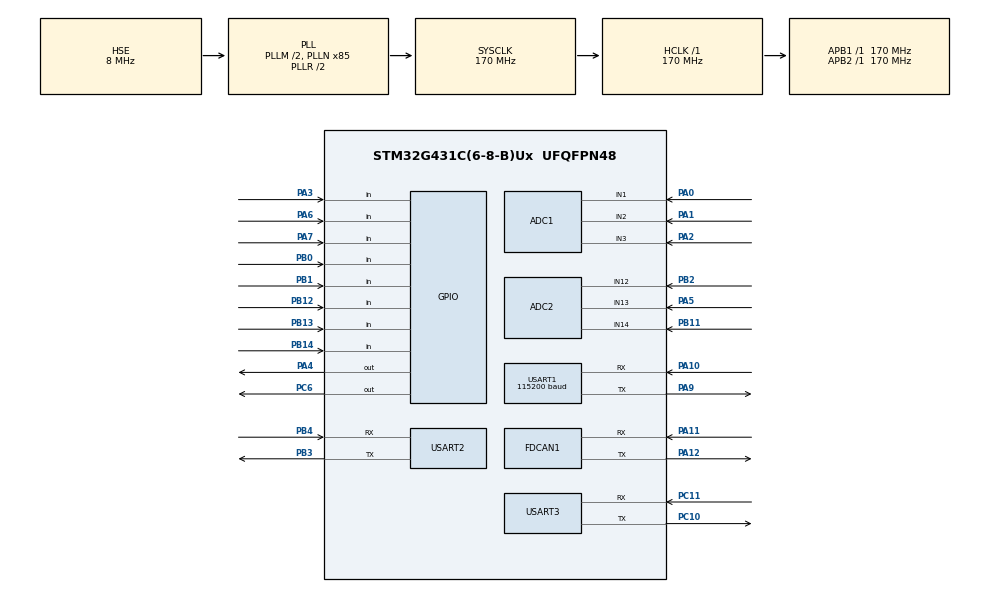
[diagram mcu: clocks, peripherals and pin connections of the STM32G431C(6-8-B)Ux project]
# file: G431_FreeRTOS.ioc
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ADC1.Channel-0\#ChannelRegularConversion=ADC_CHANNEL_1
ADC1.Channel-1\#ChannelRegularConversion=ADC_CHANNEL_2
ADC1.Channel-2\#ChannelRegularConversion=ADC_CHANNEL_3
ADC1.ContinuousConvMode=ENABLE
ADC1.DMAContinuousRequests=ENABLE
ADC1.EOCSelection=ADC_EOC_SINGLE_CONV
ADC1.NbrOfConversion=3
ADC1.NbrOfConversionFlag=1
ADC1.OffsetNumber-0\#ChannelRegularConversion=ADC_OFFSET_NONE
ADC1.OffsetNumber-1\#ChannelRegularConversion=ADC_OFFSET_NONE
ADC1.OffsetNumber-2\#ChannelRegularConversion=ADC_OFFSET_NONE
ADC1.Rank-0\#ChannelRegularConversion=1
ADC1.Rank-1\#ChannelRegularConversion=2
ADC1.Rank-2\#ChannelRegularConversion=3
ADC1.SamplingTime-0\#ChannelRegularConversion=ADC_SAMPLETIME_24CYCLES_5
ADC1.SamplingTime-1\#ChannelRegularConversion=ADC_SAMPLETIME_24CYCLES_5
ADC1.SamplingTime-2\#ChannelRegularConversion=ADC_SAMPLETIME_24CYCLES_5
ADC1.master=1
ADC2.Channel-0\#ChannelRegularConversion=ADC_CHANNEL_12
ADC2.Channel-1\#ChannelRegularConversion=ADC_CHANNEL_13
ADC2.Channel-2\#ChannelRegularConversion=ADC_CHANNEL_14
ADC2.ContinuousConvMode=ENABLE
ADC2.DMAContinuousRequests=ENABLE
ADC2.NbrOfConversion=3
ADC2.NbrOfConversionFlag=1
ADC2.OffsetNumber-0\#ChannelRegularConversion=ADC_OFFSET_NONE
ADC2.OffsetNumber-1\#ChannelRegularConversion=ADC_OFFSET_NONE
ADC2.OffsetNumber-2\#ChannelRegularConversion=ADC_OFFSET_NONE
ADC2.Rank-0\#ChannelRegularConversion=1
ADC2.Rank-1\#ChannelRegularConversion=2
ADC2.Rank-2\#ChannelRegularConversion=3
ADC2.SamplingTime-0\#ChannelRegularConversion=ADC_SAMPLETIME_24CYCLES_5
ADC2.SamplingTime-1\#ChannelRegularConversion=ADC_SAMPLETIME_24CYCLES_5
ADC2.SamplingTime-2\#ChannelRegularConversion=ADC_SAMPLETIME_24CYCLES_5
Dma.ADC1.0.Direction=DMA_PERIPH_TO_MEMORY
Dma.ADC1.0.EventEnable=DISABLE
Dma.ADC1.0.Instance=DMA1_Channel1
Dma.ADC1.0.MemDataAlignment=DMA_MDATAALIGN_HALFWORD
Dma.ADC1.0.MemInc=DMA_MINC_ENABLE
Dma.ADC1.0.Mode=DMA_CIRCULAR
Dma.ADC1.0.PeriphDataAlignment=DMA_PDATAALIGN_HALFWORD
Dma.ADC1.0.PeriphInc=DMA_PINC_DISABLE
Dma.ADC1.0.Polarity=HAL_DMAMUX_REQ_GEN_RISING
Dma.ADC1.0.Priority=DMA_PRIORITY_LOW
Dma.ADC1.0.RequestNumber=1
Dma.ADC1.0.SignalID=NONE
Dma.ADC1.0.SyncEnable=DISABLE
Dma.ADC1.0.SyncPolarity=HAL_DMAMUX_SYNC_NO_EVENT
Dma.ADC1.0.SyncRequestNumber=1
Dma.ADC1.0.SyncSignalID=NONE
Dma.ADC2.1.Direction=DMA_PERIPH_TO_MEMORY
Dma.ADC2.1.EventEnable=DISABLE
Dma.ADC2.1.Instance=DMA1_Channel2
Dma.ADC2.1.MemDataAlignment=DMA_MDATAALIGN_HALFWORD
Dma.ADC2.1.MemInc=DMA_MINC_ENABLE
Dma.ADC2.1.Mode=DMA_CIRCULAR
Dma.ADC2.1.PeriphDataAlignment=DMA_PDATAALIGN_HALFWORD
Dma.ADC2.1.PeriphInc=DMA_PINC_DISABLE
Dma.ADC2.1.Polarity=HAL_DMAMUX_REQ_GEN_RISING
Dma.ADC2.1.Priority=DMA_PRIORITY_LOW
Dma.ADC2.1.RequestNumber=1
Dma.ADC2.1.SignalID=NONE
Dma.ADC2.1.SyncEnable=DISABLE
Dma.ADC2.1.SyncPolarity=HAL_DMAMUX_SYNC_NO_EVENT
Dma.ADC2.1.SyncRequestNumber=1
Dma.ADC2.1.SyncSignalID=NONE
Dma.Request0=ADC1
Dma.Request1=ADC2
FDCAN1.CalculateBaudRateNominal=1000000
FDCAN1.CalculateTimeBitNominal=1000
FDCAN1.CalculateTimeQuantumNominal=125.0
FDCAN1.DataSyncJumpWidth=1
FDCAN1.DataTimeSeg1=8
FDCAN1.DataTimeSeg2=3
FDCAN1.NominalPrescaler=1
FDCAN1.NominalSyncJumpWidth=1
FDCAN1.NominalTimeSeg1=6
FDCAN1.NominalTimeSeg2=1
FREERTOS.HEAP_NUMBER=4
FREERTOS.Tasks01=BlueLED_Task,12,128,Start_BlueLED_Task,Default,NULL,Dynamic,NULL,NULL;GetADC_Task,28,256,Start_GetADC_Task,Default,NULL,Dynamic,NULL,NULL;MotorCTRL_Task,30,256,StartMotorCTRL_Task,Default,NULL,Dynamic,NULL,NULL;Serial_Task,29,256,Start_Serial_Task,Default,NULL,Dynamic,NULL,NULL
FREERTOS.configTOTAL_HEAP_SIZE=4096
Mcu.Family=STM32G4
Mcu.Name=STM32G431C(6-8-B)Ux
Mcu.Package=UFQFPN48
NVIC.DMA1_Channel1_IRQn=true\:5\:0\:false\:false\:true\:false\:false\:true\:true
NVIC.DMA1_Channel2_IRQn=true\:5\:0\:false\:false\:true\:false\:false\:true\:true
NVIC.FDCAN1_IT0_IRQn=true\:5\:0\:false\:false\:true\:true\:true\:true\:true
NVIC.PriorityGroup=NVIC_PRIORITYGROUP_4
PA0.Mode=IN1-Single-Ended
PA0.Signal=ADC1_IN1
PA1.Mode=IN2-Single-Ended
PA1.Signal=ADC1_IN2
PA10.Mode=Asynchronous
PA10.Signal=USART1_RX
PA11.Mode=FDCAN_Activate
PA11.Signal=FDCAN1_RX
PA12.Mode=FDCAN_Activate
PA12.Signal=FDCAN1_TX
PA13.Mode=Serial_Wire
PA13.Signal=SYS_JTMS-SWDIO
PA14.Mode=Serial_Wire
PA14.Signal=SYS_JTCK-SWCLK
PA2.Mode=IN3-Single-Ended
PA2.Signal=ADC1_IN3
PA3.Signal=GPIO_Input
PA4.GPIO_PuPd=GPIO_PULLDOWN
PA4.PinState=GPIO_PIN_SET
PA4.Signal=GPIO_Output
PA5.Mode=IN13-Single-Ended
PA5.Signal=ADC2_IN13
PA6.Signal=GPIO_Input
PA7.Signal=GPIO_Input
PA9.Mode=Asynchronous
PA9.Signal=USART1_TX
PB0.Signal=GPIO_Input
PB1.Signal=GPIO_Input
PB11.Mode=IN14-Single-Ended
PB11.Signal=ADC2_IN14
PB12.Signal=GPIO_Input
PB13.Signal=GPIO_Input
PB14.Signal=GPIO_Input
PB2.Mode=IN12-Single-Ended
PB2.Signal=ADC2_IN12
PB3.Mode=Asynchronous
PB3.Signal=USART2_TX
PB4.Mode=Asynchronous
PB4.Signal=USART2_RX
PC10.Mode=Asynchronous
PC10.Signal=USART3_TX
PC11.Mode=Asynchronous
PC11.Signal=USART3_RX
PC14-OSC32_IN.Mode=LSE-External-Oscillator
PC14-OSC32_IN.Signal=RCC_OSC32_IN
PC15-OSC32_OUT.Mode=LSE-External-Oscillator
PC15-OSC32_OUT.Signal=RCC_OSC32_OUT
PC6.GPIO_PuPd=GPIO_PULLDOWN
PC6.PinState=GPIO_PIN_SET
PC6.Signal=GPIO_Output
PF0-OSC_IN.Mode=HSE-External-Oscillator
PF0-OSC_IN.Signal=RCC_OSC_IN
PF1-OSC_OUT.Mode=HSE-External-Oscillator
PF1-OSC_OUT.Signal=RCC_OSC_OUT
ProjectManager.HeapSize=0x200
ProjectManager.StackSize=0x400
ProjectManager.TargetToolchain=MDK-ARM V5.32
RCC.ADC12Freq_Value=170000000
RCC.AHBFreq_Value=170000000
RCC.APB1Freq_Value=170000000
RCC.APB1TimFreq_Value=170000000
RCC.APB2Freq_Value=170000000
RCC.APB2TimFreq_Value=170000000
RCC.CortexFreq_Value=170000000
RCC.EXTERNAL_CLOCK_VALUE=12288000
RCC.FDCANCLockSelection=RCC_FDCANCLKSOURCE_HSE
RCC.HCLKFreq_Value=170000000
RCC.HSE_VALUE=8000000
RCC.HSI48_VALUE=48000000
RCC.HSI_VALUE=16000000
RCC.PLLM=RCC_PLLM_DIV2
RCC.PLLN=85
RCC.PLLSourceVirtual=RCC_PLLSOURCE_HSE
RCC.SYSCLKFreq_VALUE=170000000
RCC.SYSCLKSource=RCC_SYSCLKSOURCE_PLLCLK
RCC.USBFreq_Value=170000000
RCC.VCOOutputFreq_Value=340000000
USART1.BaudRate=115200
USART1.Mode=MODE_TX_RX
USART1.VirtualMode-Asynchronous=VM_ASYNC
USART2.VirtualMode-Asynchronous=VM_ASYNC
USART3.VirtualMode-Asynchronous=VM_ASYNC
VP_FREERTOS_VS_CMSIS_V2.Mode=CMSIS_V2
VP_SYS_VS_DBSignals.Mode=DisableDeadBatterySignals
board=custom

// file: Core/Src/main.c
/* USER CODE BEGIN Header */
/**
  ******************************************************************************
  * @file           : main.c
  * @brief          : Main program body
  ******************************************************************************
  * @attention
  *
  * Copyright (c) 2025 STMicroelectronics.
  * All rights reserved.
  *
  * This software is licensed under terms that can be found in the LICENSE file
  * in the root directory of this software component.
  * If no LICENSE file comes with this software, it is provided AS-IS.
  *
  ******************************************************************************
  */
/* USER CODE END Header */
#include "main.h"
#include "cmsis_os.h"
#include "adc.h"
#include "dma.h"
#include "fdcan.h"
#include "usart.h"
#include "gpio.h"

/* USER CODE BEGIN Includes */
#include "stdio.h"

/* USER CODE END Includes */

void SystemClock_Config(void);
void MX_FREERTOS_Init(void);

/* USER CODE BEGIN 0 */
int fputc(int c,FILE *f)
{
    uint8_t ch;
    ch = c;
    HAL_UART_Transmit(&huart1,&ch,1,1000);

    return c;
}

/* USER CODE END 0 */

int main(void)
{

  /* MCU Configuration--------------------------------------------------------*/

  /* Reset of all peripherals, Initializes the Flash interface and the Systick. */
  HAL_Init();

  /* Configure the system clock */
  SystemClock_Config();

  /* Initialize all configured peripherals */
  MX_GPIO_Init();
  MX_DMA_Init();
  MX_USART1_UART_Init();
  MX_ADC1_Init();
  MX_ADC2_Init();
  MX_FDCAN1_Init();
  MX_USART2_UART_Init();
  MX_USART3_UART_Init();

  /* Init scheduler */
  osKernelInitialize();  /* Call init function for freertos objects (in cmsis_os2.c) */
  MX_FREERTOS_Init();

  /* Start scheduler */
  osKernelStart();

  /* We should never get here as control is now taken by the scheduler */

  /* Infinite loop */
  while (1)
  {

  }
}

void SystemClock_Config(void)
{
  RCC_OscInitTypeDef RCC_OscInitStruct = {0};
  RCC_ClkInitTypeDef RCC_ClkInitStruct = {0};

  /** Configure the main internal regulator output voltage
  */
  HAL_PWREx_ControlVoltageScaling(PWR_REGULATOR_VOLTAGE_SCALE1_BOOST);

  /** Initializes the RCC Oscillators according to the specified parameters
  * in the RCC_OscInitTypeDef structure.
  */
  RCC_OscInitStruct.OscillatorType = RCC_OSCILLATORTYPE_HSE;
  RCC_OscInitStruct.HSEState = RCC_HSE_ON;
  RCC_OscInitStruct.PLL.PLLState = RCC_PLL_ON;
  RCC_OscInitStruct.PLL.PLLSource = RCC_PLLSOURCE_HSE;
  RCC_OscInitStruct.PLL.PLLM = RCC_PLLM_DIV2;
  RCC_OscInitStruct.PLL.PLLN = 85;
  RCC_OscInitStruct.PLL.PLLP = RCC_PLLP_DIV2;
  RCC_OscInitStruct.PLL.PLLQ = RCC_PLLQ_DIV2;
  RCC_OscInitStruct.PLL.PLLR = RCC_PLLR_DIV2;
  if (HAL_RCC_OscConfig(&RCC_OscInitStruct) != HAL_OK)
  {
    Error_Handler();
  }

  /** Initializes the CPU, AHB and APB buses clocks
  */
  RCC_ClkInitStruct.ClockType = RCC_CLOCKTYPE_HCLK|RCC_CLOCKTYPE_SYSCLK
                              |RCC_CLOCKTYPE_PCLK1|RCC_CLOCKTYPE_PCLK2;
  RCC_ClkInitStruct.SYSCLKSource = RCC_SYSCLKSOURCE_PLLCLK;
  RCC_ClkInitStruct.AHBCLKDivider = RCC_SYSCLK_DIV1;
  RCC_ClkInitStruct.APB1CLKDivider = RCC_HCLK_DIV1;
  RCC_ClkInitStruct.APB2CLKDivider = RCC_HCLK_DIV1;

  if (HAL_RCC_ClockConfig(&RCC_ClkInitStruct, FLASH_LATENCY_4) != HAL_OK)
  {
    Error_Handler();
  }
}

void Error_Handler(void)
{
  __disable_irq();
  while (1)
  {
  }
}

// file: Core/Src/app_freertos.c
/* USER CODE BEGIN Header */
/**
  ******************************************************************************
  * File Name          : app_freertos.c
  * Description        : Code for freertos applications
  ******************************************************************************
  * @attention
  *
  * Copyright (c) 2025 STMicroelectronics.
  * All rights reserved.
  *
  * This software is licensed under terms that can be found in the LICENSE file
  * in the root directory of this software component.
  * If no LICENSE file comes with this software, it is provided AS-IS.
  *
  ******************************************************************************
  */
/* USER CODE END Header */

#include "FreeRTOS.h"
#include "task.h"
#include "main.h"
#include "cmsis_os.h"

/* USER CODE BEGIN Includes */
#include "adc_user.h"
#include "can_user.h"
#include "uart_user.h"

#include "adc_filter.h"
#include "arm_ctrl.h"

/* USER CODE END Includes */

/* Definitions for BlueLED_Task */
osThreadId_t BlueLED_TaskHandle;
const osThreadAttr_t BlueLED_Task_attributes = {
  .name = "BlueLED_Task",
  .priority = (osPriority_t) osPriorityLow4,
  .stack_size = 128 * 4
};
/* Definitions for GetADC_Task */
osThreadId_t GetADC_TaskHandle;
const osThreadAttr_t GetADC_Task_attributes = {
  .name = "GetADC_Task",
  .priority = (osPriority_t) osPriorityNormal4,
  .stack_size = 256 * 4
};
/* Definitions for MotorCTRL_Task */
osThreadId_t MotorCTRL_TaskHandle;
const osThreadAttr_t MotorCTRL_Task_attributes = {
  .name = "MotorCTRL_Task",
  .priority = (osPriority_t) osPriorityNormal6,
  .stack_size = 256 * 4
};
/* Definitions for Serial_Task */
osThreadId_t Serial_TaskHandle;
const osThreadAttr_t Serial_Task_attributes = {
  .name = "Serial_Task",
  .priority = (osPriority_t) osPriorityNormal5,
  .stack_size = 256 * 4
};

void Start_BlueLED_Task(void *argument);
void Start_GetADC_Task(void *argument);
void StartMotorCTRL_Task(void *argument);
void Start_Serial_Task(void *argument);

void MX_FREERTOS_Init(void); /* (MISRA C 2004 rule 8.1) */

void MX_FREERTOS_Init(void) {

  /* Create the thread(s) */
  /* creation of BlueLED_Task */
  BlueLED_TaskHandle = osThreadNew(Start_BlueLED_Task, NULL, &BlueLED_Task_attributes);

  /* creation of GetADC_Task */
  GetADC_TaskHandle = osThreadNew(Start_GetADC_Task, NULL, &GetADC_Task_attributes);

  /* creation of MotorCTRL_Task */
  MotorCTRL_TaskHandle = osThreadNew(StartMotorCTRL_Task, NULL, &MotorCTRL_Task_attributes);

  /* creation of Serial_Task */
  Serial_TaskHandle = osThreadNew(Start_Serial_Task, NULL, &Serial_Task_attributes);

}

void Start_BlueLED_Task(void *argument)
{
  /* USER CODE BEGIN Start_BlueLED_Task */
  /* Infinite loop */
  for(;;)
  {
	HAL_GPIO_TogglePin(GPIOC,GPIO_PIN_6);
    osDelay(250);//一秒闪两次
  }

  /* USER CODE END Start_BlueLED_Task */
}

void Start_GetADC_Task(void *argument)
{
  /* USER CODE BEGIN Start_GetADC_Task */

	//TickType_t last_wake_time = xTaskGetTickCount();

	adc1_user_init();
	adc2_user_init();

  /* Infinite loop */
  for(;;)
  {
		ADC_Filter_Update();
		angle_j1 = ADC_To_Angle(ADC1_GetFiltered(0),360) + 7.428572;
		angle_j2 = ADC_To_Angle(ADC1_GetFiltered(1),360) + 30.417583;
		angle_j3 = ADC_To_Angle(ADC1_GetFiltered(2),360) - 0.842491;

		angle_j4 = ADC_To_Angle(ADC2_GetFiltered(0),360) + 4.000000;
		angle_j5 = ADC_To_Angle(ADC2_GetFiltered(1),360) + 4.80000;
		angle_j6 = ADC_To_Angle(ADC2_GetFiltered(2),360) + 2.769231;

		//printf("Angle_Jx = %f  %f  %f  %f  %f  %f\r\n",arm_data[0], arm_data[1], arm_data[2], arm_data[3], arm_data[4], arm_data[5]);
    //printf("Angle_Jx = %f  %f  %f  %f  %f  %f\r\n",angle_j1, angle_j2, angle_j3, angle_j4, angle_j5, angle_j6);

    osDelay(2);

  }
  /* USER CODE END Start_GetADC_Task */
}

void StartMotorCTRL_Task(void *argument)
{
  /* USER CODE BEGIN StartMotorCTRL_Task */

	FDCAN_Filter_Init();
	osDelay(800);

static	uint8_t put_first_kuang_state2 = 0;
static	uint8_t arm_enable_state = 0;
static  uint8_t arm_hold_state = 0;
static  uint8_t first_get_state = 0;
static  uint8_t second_get_state = 0;
static  uint8_t put_first_kuang_state = 0;
static  uint8_t catch_out_state = 0;
	//	调试模式
	if(ctrl_state == disable_ctrl_state)
	{
		FDCAN_DM_cmd_SETZERO(0x06);
		printf("motor SETZERO ok\r\n");
	}

	// 正常工作使能
	if(ctrl_state == normal_ctrl_state)
	{
		FDCAN_DM_cmd_STATE(1,1);
		osDelay(5);
		FDCAN_DM_cmd_STATE(2,1);
		osDelay(5);
		FDCAN_DM_cmd_STATE(3,1);
		osDelay(5);

		FDCAN_DM_cmd_STATE(4,1);
		osDelay(5);
		FDCAN_DM_cmd_STATE(5,1);
		osDelay(5);
		FDCAN_DM_cmd_STATE(6,1);
		osDelay(5);
		FDCAN_DM_cmd_STATE(7,1);
		osDelay(5);

	}

		/* Infinite loop */
		for(;;)
		{
			if(ctrl_state == normal_ctrl_state)
			{
				// arm angles for uart
				arm_data[0] = -angle_j1/2;
				arm_data[1] = motor_pos_limit(2, angle_j2);
				arm_data[2] = -motor_pos_limit(3, angle_j3);
				arm_data[3] = -motor_pos_limit(4, angle_j4);
				arm_data[4] = -motor_pos_limit(5, angle_j5);
				arm_data[5] = -motor_pos_limit(6,angle_j6);

				// arm angles for can
//				FDCAN_DM_POS_cmd_arm(0x01,arm_data[0]/57.3,2);
//				osDelay(2);
//				FDCAN_DM_POS_cmd_arm(0x02,arm_data[1]/57.3,2);
//				osDelay(2);
//				FDCAN_DM_POS_cmd_arm(0x03,arm_data[2]/57.3,4);
//				osDelay(2);
//				FDCAN_DM_POS_cmd_arm(0x04,arm_data[3]/57.3,4);
//				osDelay(2);
//				FDCAN_DM_POS_cmd_arm(0x05,arm_data[4]/57.3,4);
//				osDelay(2);
//				FDCAN_DM_POS_cmd_arm(0x06,arm_data[5]/57.3,4);
//				osDelay(2);

				// enable state control
				arm_enable_state = enable_state_test();

				if(arm_enable_state == 1)
				{
					arm_ctrl[1] = 0x01;  // 电机使能
					osDelay(2);
				}
				else if(arm_enable_state == 0)
				{
					arm_ctrl[1] = 0x00;  // 电机失能
					osDelay(2);
				}

				// hold state control
				arm_hold_state = hold_state_test();

				if(arm_hold_state == 1)
				{
					arm_ctrl[2] = 0x01;
					osDelay(2);
				}
				else if(arm_hold_state == 0)
				{
					arm_ctrl[2] = 0x00;
					osDelay(2);
				}

				// three state
				first_get_state  = get_first_test() ? 1 : 0;
				second_get_state = get_second_test() ? 1 : 0;
				put_first_kuang_state  = put_first_kuang_test() ? 1 : 0;
				put_first_kuang_state2 = put_first_kuang_test2() ? 1 : 0;

				if(first_get_state)
				{
						arm_ctrl[3] = 0x01;
							osDelay(2);
				}
				else if(second_get_state)
				{
						arm_ctrl[3] = 0x02;
							osDelay(2);
				}
				else if(put_first_kuang_state)
				{
						arm_ctrl[3] = 0x11;
							osDelay(2);
				}else if(put_first_kuang_state2)
				{
						arm_ctrl[3] = 0x66;
								osDelay(2);
				}
				else
				{
						arm_ctrl[3] = 0x00;
						osDelay(2);
				}

				// catch out test
				catch_out_state = catch_out_test();
				if(catch_out_state == 1)
				{
					arm_ctrl[4] = 0x01;
					osDelay(2);
				}
				else if(catch_out_state == 0)
				{
					arm_ctrl[4] = 0x00;
					osDelay(2);
				}

			}

			osDelay(2);
		}

  /* USER CODE END StartMotorCTRL_Task */
}

void Start_Serial_Task(void *argument)
{
  /* USER CODE BEGIN Start_Serial_Task */
  /* Infinite loop */
  for(;;)
  {
		uart_transmit_arm_data();
    osDelay(34);
  }
  /* USER CODE END Start_Serial_Task */
}
